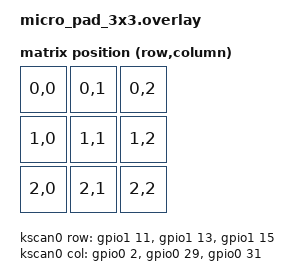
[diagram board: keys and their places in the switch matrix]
#include <dt-bindings/zmk/matrix_transform.h>
#include "micro_pad_3x3-layouts.dtsi"

/ {
    chosen {
        zmk,kscan = &kscan0;
        zmk,physical-layout = &physical_layout0;
    };

    kscan0: kscan0 {
        compatible = "zmk,kscan-gpio-matrix";
        diode-direction = "col2row";
        wakeup-source;

        col-gpios
            = <&gpio0 2 GPIO_ACTIVE_HIGH>
            , <&gpio0 29 GPIO_ACTIVE_HIGH>
            , <&gpio0 31 GPIO_ACTIVE_HIGH>
            ;

        row-gpios
            = <&gpio1 11 (GPIO_ACTIVE_HIGH | GPIO_PULL_DOWN)>
            , <&gpio1 13 (GPIO_ACTIVE_HIGH | GPIO_PULL_DOWN)>
            , <&gpio1 15 (GPIO_ACTIVE_HIGH | GPIO_PULL_DOWN)>
            ;
    };

    default_transform: keymap_transform0 {
        compatible = "zmk,matrix-transform";
        columns = <3>;
        rows = <3>;

        map = <
            RC(0,0) RC(0,1) RC(0,2)
            RC(1,0) RC(1,1) RC(1,2)
            RC(2,0) RC(2,1) RC(2,2)
        >;
    };
};

&physical_layout0 {
    kscan = <&kscan0>;
    transform = <&default_transform>;
};
